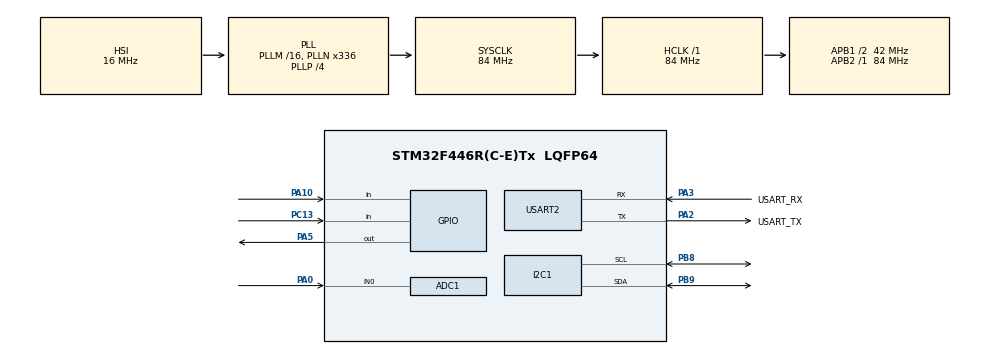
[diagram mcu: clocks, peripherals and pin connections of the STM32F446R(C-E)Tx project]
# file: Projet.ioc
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ADC1.Channel-3\#ChannelRegularConversion=ADC_CHANNEL_0
ADC1.NbrOfConversionFlag=1
ADC1.Rank-3\#ChannelRegularConversion=1
ADC1.SamplingTime-3\#ChannelRegularConversion=ADC_SAMPLETIME_3CYCLES
ADC1.master=1
Mcu.Family=STM32F4
Mcu.Name=STM32F446R(C-E)Tx
Mcu.Package=LQFP64
NVIC.ADC_IRQn=true\:0\:0\:false\:false\:true\:true\:true
NVIC.PriorityGroup=NVIC_PRIORITYGROUP_0
NVIC.TIM2_IRQn=true\:0\:0\:false\:false\:true\:true\:true
NVIC.TIM3_IRQn=true\:0\:0\:false\:false\:true\:true\:true
NVIC.TIM5_IRQn=true\:0\:0\:false\:false\:true\:true\:true
PA0-WKUP.Signal=ADCx_IN0
PA10.Signal=GPIO_Input
PA13.GPIO_Label=TMS
PA13.Mode=Serial_Wire
PA13.Signal=SYS_JTMS-SWDIO
PA14.GPIO_Label=TCK
PA14.Mode=Serial_Wire
PA14.Signal=SYS_JTCK-SWCLK
PA2.GPIO_Label=USART_TX
PA2.Mode=Asynchronous
PA2.Signal=USART2_TX
PA3.GPIO_Label=USART_RX
PA3.Mode=Asynchronous
PA3.Signal=USART2_RX
PA5.Signal=GPIO_Output
PB3.GPIO_Label=SWO
PB3.Signal=SYS_JTDO-SWO
PB8.Mode=I2C
PB8.Signal=I2C1_SCL
PB9.Mode=I2C
PB9.Signal=I2C1_SDA
PC13.Signal=GPIO_Input
PC14-OSC32_IN.Mode=LSE-External-Oscillator
PC14-OSC32_IN.Signal=RCC_OSC32_IN
PC15-OSC32_OUT.Mode=LSE-External-Oscillator
PC15-OSC32_OUT.Signal=RCC_OSC32_OUT
PH0-OSC_IN.Mode=HSE-External-Oscillator
PH0-OSC_IN.Signal=RCC_OSC_IN
PH1-OSC_OUT.Mode=HSE-External-Oscillator
PH1-OSC_OUT.Signal=RCC_OSC_OUT
ProjectManager.HeapSize=0x200
ProjectManager.StackSize=0x400
ProjectManager.TargetToolchain=STM32CubeIDE
RCC.48MHZClocksFreq_Value=84000000
RCC.AHBFreq_Value=84000000
RCC.APB1CLKDivider=RCC_HCLK_DIV2
RCC.APB1Freq_Value=42000000
RCC.APB1TimFreq_Value=84000000
RCC.APB2Freq_Value=84000000
RCC.APB2TimFreq_Value=84000000
RCC.CortexFreq_Value=84000000
RCC.FLatency-AdvancedSettings=FLASH_LATENCY_2
RCC.HCLKFreq_Value=84000000
RCC.HSE_VALUE=8000000
RCC.HSI_VALUE=16000000
RCC.PLLN=336
RCC.PLLP=RCC_PLLP_DIV4
RCC.SYSCLKFreq_VALUE=84000000
RCC.SYSCLKSource=RCC_SYSCLKSOURCE_PLLCLK
RCC.USBFreq_Value=168000000
RCC.VCOOutputFreq_Value=336000000
SH.ADCx_IN0.0=ADC1_IN0,IN0
TIM2.Period=3000000 - 1
TIM2.Prescaler=8400 - 1
TIM2.TIM_MasterOutputTrigger=TIM_TRGO_UPDATE
TIM3.Prescaler=38452 - 1
TIM3.TIM_MasterOutputTrigger=TIM_TRGO_UPDATE
TIM5.Period=600000
TIM5.Prescaler=8400
TIM5.TIM_MasterOutputTrigger=TIM_TRGO_UPDATE
USART2.VirtualMode=VM_ASYNC
VP_TIM2_VS_ClockSourceINT.Mode=Internal
VP_TIM3_VS_ClockSourceINT.Mode=Internal
VP_TIM5_VS_ClockSourceINT.Mode=Internal
board=NUCLEO-F446RE

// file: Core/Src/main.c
/* USER CODE BEGIN Header */
/**
  ******************************************************************************
  * @file           : main.c
  * @brief          : Main program body
  ******************************************************************************
  * @attention
  *
  * <h2><center>&copy; Copyright (c) 2021 STMicroelectronics.
  * All rights reserved.</center></h2>
  *
  * This software component is licensed by ST under BSD 3-Clause license,
  * the "License"; You may not use this file except in compliance with the
  * License. You may obtain a copy of the License at:
  *                        opensource.org/licenses/BSD-3-Clause
  *
  ******************************************************************************
  */
/* USER CODE END Header */
#include "main.h"

ADC_HandleTypeDef hadc1;

I2C_HandleTypeDef hi2c1;

TIM_HandleTypeDef htim2;
TIM_HandleTypeDef htim3;
TIM_HandleTypeDef htim5;

UART_HandleTypeDef huart2;

void SystemClock_Config(void);
static void MX_GPIO_Init(void);
static void MX_USART2_UART_Init(void);
static void MX_I2C1_Init(void);
static void MX_TIM2_Init(void);
static void MX_ADC1_Init(void);
static void MX_TIM3_Init(void);
static void MX_TIM5_Init(void);

/* USER CODE BEGIN 0 */

// DATE: 22/04/2021
/*
 * Afin de pouvoir debugger facilement des informations, on pourra re-définir l’implémentation
d’une fonction printf redirigeant les caractères vers l’UART et non la sortie standard console
en C
 */

#ifdef __GNUC__
/* With GCC/RAISONANCE, small printf (option LD Linker->Libraries->Small
printf
 set to 'Yes') calls __io_putchar() */
#define PUTCHAR_PROTOTYPE int __io_putchar(int ch)
#else
#define PUTCHAR_PROTOTYPE int fputc(int ch, FILE *f)
#endif /* __GNUC__ */

/*
 * Ajouter ensuite le code lié à l’implémentation de cette fonction
 */

PUTCHAR_PROTOTYPE
{
/* Place your implementation of fputc here */
/* e.g. write a character to the USART2 and Loop until the end of transmission */
HAL_UART_Transmit(&huart2, (uint8_t *)&ch, 1, 0xFFFF);
return ch;
}

void getTempI2C(void){
	/*
	   * Modifier votre programme principal pour permettre de lire la température (registre à l’adresse 0x05).
	   * Pour cela, vous privilégierez les fonctions suivantes :
	   * 	HAL_I2C_Master_Transmit() ; //Ecriture de données
	   * 	HAL_I2C_Mem_Read() ; //Lecture de données
	   */

	  // Transmettre, en mode Maître, une quantité de donnée en mode block
	  /*
	   * HAL_I2C_Master_Transmit(I2C_HandleTypeDef *hi2c, uint16_t DevAddress, uint8_t *pData, uint16_t Size, uint32_t Timeout)
	   */

	/*
	 * L'adresse du Capteur de Temperature MCP9808 est '0011,A2,A1,A0' en binaire
	 * On met A2, A1 et A0 à '0'; ce qui donne 0011000
	 *
	 * En Hexadecimal, la valeur 0011000 est égale à 18
	 */
	 uint8_t DevAddress = 0x18<<1;	// Adresse de l'appareil (du capteur de température) avec declage vers la gauche pour le placer en 8 bits
	 uint8_t RegistreAdress = 0x05;	// Adresse du Registre contenant la Température
	 // uint8_t RegistreAdress = 0x07;
	 uint8_t pData[2];				// Ce que je transmet
	pData[0] = RegistreAdress;		// Stockage de l'Adresse du Registre dans la 1ère case de pData

	/*
	 * Pour hi2c1		I2C_HandleTypeDef qui contient les informations de configuration pour le I2C spécifié.
	 * Pour 1			On n'envoit que la première case de pData
	 */
	HAL_StatusTypeDef HALstage;
	// HALstage = HAL_I2C_Master_Transmit(&hi2c1, DevAddress, pData, 1, HAL_MAX_DELAY);

	 // Si la Transmission s'est bien passée
	// if(HALstage==HAL_OK){
		  /* Lecture du registre à l'adresse 0x05
		   *
		   * HAL_StatusTypeDef HAL_I2C_Mem_Read(I2C_HandleTypeDef *hi2c, uint16_t DevAddress, uint16_t MemAddress, uint16_t MemAddSize, uint8_t *pData, uint16_t Size, uint32_t Timeout)
		   *
		   * Pour "I2C_MEMADD_SIZE_8BIT"
		   *	On donne la Taille sur 8 bits de l'I2C
		   * Pour "Size"
		   * 	Dans pData, on récupére 2 éléments;
		   * 		1) MSB
		   * 		2) LSB
		   */

		/*
			 * L'adresse du Capteur de Temperature MCP9808 est '0011,A2,A1,A0' en binaire
			 * On met A2, A1 et A0 à '0'; ce qui donne 0011000
			 *
			 * En Hexadecimal, la valeur 0011000 est égale à 18
		*/

		/*
			uint8_t DevAddress = 0x18<<1;	// Adresse de l'appareil (du capteur de température) avec declage vers la gauche pour le placer en 8 bits
			uint8_t RegistreAdress = 0x05;	// Adresse du Registre contenant la Température
			// uint8_t RegistreAdress = 0x07;
			uint8_t pData[2];				// Tableau qui contiendra les données récupérées
			pData[0] = RegistreAdress;		// Stockage de l'Adresse du Registre dans la 1ère case de pData
		*/

		/*
			* Pour hi2c1		I2C_HandleTypeDef qui contient les informations de configuration pour le I2C spécifié.
			* Pour 2			On cherche à récupérer 2 élément (dans les 2 cases de pData)
		*/
		 HALstage=HAL_I2C_Mem_Read(&hi2c1, DevAddress, RegistreAdress, I2C_MEMADD_SIZE_8BIT, pData, 2, HAL_MAX_DELAY);

		 // Si la Reception s'est bien passée
		 if(HALstage==HAL_OK){
			/*
			* A la fin de HAL_I2C_Mem_Read
			* Dans	pData[0], on aura MSB
			*		pData[1], on aura LSB
			*/

			/*
			printf("\npData[0]=%02x\n",pData[0]);
			printf("pData[1]=%02x\n",pData[1]);
			*/

			// Convertir pData[0] (MSB) qui est en Hexadecimal vers la version binaire (puis decimale)

			// Combiner les Bits
			int16_t tmp = ((int16_t)pData[0] << 4) | (pData[1] >> 4);

			// Convert to 2's complement, since temperature can be negative
			if(tmp < 0x7FF){
				tmp |= 0xF000;
			}

			// Convert to float temperature value (CELSIUS)
			int16_t temp_val = tmp * 0.0625;

			// Convert temperature to decimal format
			temp_val *= 100;

			// store to databuffer
			sprintf((char*)pData,
				"%u.%u C\r\n",
				((unsigned int)temp_val / 1000),
				((unsigned int)fmod(temp_val,100))
			);

			printf("Temperature : %s\n",pData);
			// }
		}
		else{
			printf("ERREUR RECEPTION\n");
		}
	 /*
	}
	else{
		printf("ERREUR TRANSMISSION\n");
	}
	*/
 }

void getLightValue(void){
	// Lancement du hadc
	HAL_ADC_Start(&hadc1);

	// printf("ADC lancé\n");

	// HAL_Delay(1);

	// Traitement de la Valeur dans hadc1
	uint32_t adcValue = HAL_ADC_GetValue(&hadc1);
	printf("HADC1: %d\n", adcValue);

	// Hal_Delay(1);

	// Si la valeur est en dessous de 4000, on considère que "la lumière est ALLUMEE"
	if(adcValue<4000){
		printf("Lumière ALLUMEE\n");
		// La LED LD2 s'allume
		HAL_GPIO_WritePin(GPIOA, GPIO_PIN_5, 1);
	}
	// Sinon, on considère que la "lumière est ETEINTE"
	else{
		printf("Lumière ETEINTE\n");
		// LD2 s'éteint
		HAL_GPIO_WritePin(GPIOA, GPIO_PIN_5, 0);
	}

	// Arret du hadc
	// HAL_ADC_Stop(&hadc1);
}

void getInfraValue(void){
	// Si on appuie sur le boutton poussoir
	// printf("RECHERCHE D'OBSTACLE\n");

	/*
	if(!HAL_GPIO_ReadPin(GPIOC, GPIO_PIN_13)){
		  printf("ARRET DES ALERTES\n");
		  // On arrête les alertes (la Led LD2 reste éteinte)
		  HAL_GPIO_WritePin(GPIOA, GPIO_PIN_5, GPIO_PIN_RESET);
	  }
	  else{
	  */
	    // Si un signal est recu sur le PA10
		  if(!HAL_GPIO_ReadPin(GPIOA, GPIO_PIN_10)){
			  printf("OBSTACLE\n");
			  // On allume la led LD2
			  // HAL_Delay(1);
			  HAL_GPIO_WritePin(GPIOA, GPIO_PIN_5, GPIO_PIN_SET);
		  }
		  else{
			  printf("PAS D'OBSTACLE\n");
			  // HAL_Delay(1);
			  // On eteind la led LD2
			  HAL_GPIO_WritePin(GPIOA, GPIO_PIN_5, GPIO_PIN_RESET);
			  // HAL_Delay(1);

			  // On allume la led LD1 (PC7)
			  HAL_GPIO_WritePin(GPIOC, GPIO_PIN_7, 1);
			  // HAL_Delay(1);

			  // On eteint la led LD0 (PA9)
			  HAL_GPIO_WritePin(GPIOA, GPIO_PIN_9, 0);
		  }
	  // }
}

/* USER CODE END 0 */

int main(void)
{

  /* MCU Configuration--------------------------------------------------------*/

  /* Reset of all peripherals, Initializes the Flash interface and the Systick. */
  HAL_Init();

  /* Configure the system clock */
  SystemClock_Config();

  /* Initialize all configured peripherals */
  MX_GPIO_Init();
  MX_USART2_UART_Init();
  MX_I2C1_Init();
  MX_TIM2_Init();
  MX_ADC1_Init();
  MX_TIM3_Init();
  MX_TIM5_Init();
  /* USER CODE BEGIN 2 */
  // DATE: 22/04/2021

  // Modifier le fichier main.c afin d’y tester la fonction printf().
  int n=25;
  /*
  printf("BONJOUR");
  printf("%d\n",n);
  */

  // getTempI2C();

 // Initialisation du hadc
 HAL_ADC_Init(&hadc1);

 // Lancement du hadc pour que le Capteur de Luminosité ait le temps de la detecter
 HAL_ADC_Start(&hadc1);

 // Pour Lancer le Timer2 en mode Interruption
 HAL_TIM_Base_Start_IT(&htim2);

 // Pour Lancer le Timer5 en mode Interruption
 HAL_TIM_Base_Start_IT(&htim5);

 // getLightValue();

 // HAL_ADC_Start_IT(&hadc1);

 // printf("HTIM5\n");
//  HAL_TIM_PeriodElapsedCallback(&htim5);

  /* USER CODE END 2 */

  /* Infinite loop */
  while (1)
  {

    /* USER CODE BEGIN 3 */
	/*
  	getLightValue();
  	getInfraValue();
  	*/

	  // Si on appuie sur le bouton poussoir
	   if(!HAL_GPIO_ReadPin(GPIOC, GPIO_PIN_13)){
		   // Si les alertes sont activées (si la led LD2 est allumée)
		   if(HAL_GPIO_ReadPin(GPIOA, GPIO_PIN_5)){
			  printf("ARRET DES ALERTES\n");
			  // On arrête les alertes (la Led LD2 s'éteind)
			  HAL_GPIO_WritePin(GPIOA, GPIO_PIN_5, GPIO_PIN_RESET);
		   }
		   /*
		   else if(!HAL_GPIO_ReadPin(GPIOA, GPIO_PIN_5)){
			   // On revérifie la présence d'obstacle
			   getInfraValue();
		   }
		   */
	   }
  }
  /* USER CODE END 3 */
}

void SystemClock_Config(void)
{
  RCC_OscInitTypeDef RCC_OscInitStruct = {0};
  RCC_ClkInitTypeDef RCC_ClkInitStruct = {0};

  /** Configure the main internal regulator output voltage
  */
  __HAL_RCC_PWR_CLK_ENABLE();
  __HAL_PWR_VOLTAGESCALING_CONFIG(PWR_REGULATOR_VOLTAGE_SCALE3);
  /** Initializes the RCC Oscillators according to the specified parameters
  * in the RCC_OscInitTypeDef structure.
  */
  RCC_OscInitStruct.OscillatorType = RCC_OSCILLATORTYPE_HSI;
  RCC_OscInitStruct.HSIState = RCC_HSI_ON;
  RCC_OscInitStruct.HSICalibrationValue = RCC_HSICALIBRATION_DEFAULT;
  RCC_OscInitStruct.PLL.PLLState = RCC_PLL_ON;
  RCC_OscInitStruct.PLL.PLLSource = RCC_PLLSOURCE_HSI;
  RCC_OscInitStruct.PLL.PLLM = 16;
  RCC_OscInitStruct.PLL.PLLN = 336;
  RCC_OscInitStruct.PLL.PLLP = RCC_PLLP_DIV4;
  RCC_OscInitStruct.PLL.PLLQ = 2;
  RCC_OscInitStruct.PLL.PLLR = 2;
  if (HAL_RCC_OscConfig(&RCC_OscInitStruct) != HAL_OK)
  {
    Error_Handler();
  }
  /** Initializes the CPU, AHB and APB buses clocks
  */
  RCC_ClkInitStruct.ClockType = RCC_CLOCKTYPE_HCLK|RCC_CLOCKTYPE_SYSCLK
                              |RCC_CLOCKTYPE_PCLK1|RCC_CLOCKTYPE_PCLK2;
  RCC_ClkInitStruct.SYSCLKSource = RCC_SYSCLKSOURCE_PLLCLK;
  RCC_ClkInitStruct.AHBCLKDivider = RCC_SYSCLK_DIV1;
  RCC_ClkInitStruct.APB1CLKDivider = RCC_HCLK_DIV2;
  RCC_ClkInitStruct.APB2CLKDivider = RCC_HCLK_DIV1;

  if (HAL_RCC_ClockConfig(&RCC_ClkInitStruct, FLASH_LATENCY_2) != HAL_OK)
  {
    Error_Handler();
  }
}

static void MX_ADC1_Init(void)
{

  ADC_ChannelConfTypeDef sConfig = {0};

  /** Configure the global features of the ADC (Clock, Resolution, Data Alignment and number of conversion)
  */
  hadc1.Instance = ADC1;
  hadc1.Init.ClockPrescaler = ADC_CLOCK_SYNC_PCLK_DIV4;
  hadc1.Init.Resolution = ADC_RESOLUTION_12B;
  hadc1.Init.ScanConvMode = DISABLE;
  hadc1.Init.ContinuousConvMode = DISABLE;
  hadc1.Init.DiscontinuousConvMode = DISABLE;
  hadc1.Init.ExternalTrigConvEdge = ADC_EXTERNALTRIGCONVEDGE_NONE;
  hadc1.Init.ExternalTrigConv = ADC_SOFTWARE_START;
  hadc1.Init.DataAlign = ADC_DATAALIGN_RIGHT;
  hadc1.Init.NbrOfConversion = 1;
  hadc1.Init.DMAContinuousRequests = DISABLE;
  hadc1.Init.EOCSelection = ADC_EOC_SINGLE_CONV;
  if (HAL_ADC_Init(&hadc1) != HAL_OK)
  {
    Error_Handler();
  }
  /** Configure for the selected ADC regular channel its corresponding rank in the sequencer and its sample time.
  */
  sConfig.Channel = ADC_CHANNEL_0;
  sConfig.Rank = 1;
  sConfig.SamplingTime = ADC_SAMPLETIME_3CYCLES;
  if (HAL_ADC_ConfigChannel(&hadc1, &sConfig) != HAL_OK)
  {
    Error_Handler();
  }

}

static void MX_I2C1_Init(void)
{

  hi2c1.Instance = I2C1;
  hi2c1.Init.ClockSpeed = 100000;
  hi2c1.Init.DutyCycle = I2C_DUTYCYCLE_2;
  hi2c1.Init.OwnAddress1 = 0;
  hi2c1.Init.AddressingMode = I2C_ADDRESSINGMODE_7BIT;
  hi2c1.Init.DualAddressMode = I2C_DUALADDRESS_DISABLE;
  hi2c1.Init.OwnAddress2 = 0;
  hi2c1.Init.GeneralCallMode = I2C_GENERALCALL_DISABLE;
  hi2c1.Init.NoStretchMode = I2C_NOSTRETCH_DISABLE;
  if (HAL_I2C_Init(&hi2c1) != HAL_OK)
  {
    Error_Handler();
  }

}

static void MX_TIM2_Init(void)
{

  TIM_ClockConfigTypeDef sClockSourceConfig = {0};
  TIM_MasterConfigTypeDef sMasterConfig = {0};

  htim2.Instance = TIM2;
  htim2.Init.Prescaler = 8400 - 1;
  htim2.Init.CounterMode = TIM_COUNTERMODE_UP;
  htim2.Init.Period = 3000000 - 1;
  htim2.Init.ClockDivision = TIM_CLOCKDIVISION_DIV1;
  htim2.Init.AutoReloadPreload = TIM_AUTORELOAD_PRELOAD_DISABLE;
  if (HAL_TIM_Base_Init(&htim2) != HAL_OK)
  {
    Error_Handler();
  }
  sClockSourceConfig.ClockSource = TIM_CLOCKSOURCE_INTERNAL;
  if (HAL_TIM_ConfigClockSource(&htim2, &sClockSourceConfig) != HAL_OK)
  {
    Error_Handler();
  }
  sMasterConfig.MasterOutputTrigger = TIM_TRGO_UPDATE;
  sMasterConfig.MasterSlaveMode = TIM_MASTERSLAVEMODE_DISABLE;
  if (HAL_TIMEx_MasterConfigSynchronization(&htim2, &sMasterConfig) != HAL_OK)
  {
    Error_Handler();
  }

}

static void MX_TIM3_Init(void)
{

  TIM_ClockConfigTypeDef sClockSourceConfig = {0};
  TIM_MasterConfigTypeDef sMasterConfig = {0};

  htim3.Instance = TIM3;
  htim3.Init.Prescaler = 38452 - 1;
  htim3.Init.CounterMode = TIM_COUNTERMODE_UP;
  htim3.Init.Period = 65535;
  htim3.Init.ClockDivision = TIM_CLOCKDIVISION_DIV1;
  htim3.Init.AutoReloadPreload = TIM_AUTORELOAD_PRELOAD_DISABLE;
  if (HAL_TIM_Base_Init(&htim3) != HAL_OK)
  {
    Error_Handler();
  }
  sClockSourceConfig.ClockSource = TIM_CLOCKSOURCE_INTERNAL;
  if (HAL_TIM_ConfigClockSource(&htim3, &sClockSourceConfig) != HAL_OK)
  {
    Error_Handler();
  }
  sMasterConfig.MasterOutputTrigger = TIM_TRGO_UPDATE;
  sMasterConfig.MasterSlaveMode = TIM_MASTERSLAVEMODE_DISABLE;
  if (HAL_TIMEx_MasterConfigSynchronization(&htim3, &sMasterConfig) != HAL_OK)
  {
    Error_Handler();
  }

}

static void MX_TIM5_Init(void)
{

  TIM_ClockConfigTypeDef sClockSourceConfig = {0};
  TIM_MasterConfigTypeDef sMasterConfig = {0};

  htim5.Instance = TIM5;
  htim5.Init.Prescaler = 8400;
  htim5.Init.CounterMode = TIM_COUNTERMODE_UP;
  htim5.Init.Period = 600000;
  htim5.Init.ClockDivision = TIM_CLOCKDIVISION_DIV1;
  htim5.Init.AutoReloadPreload = TIM_AUTORELOAD_PRELOAD_DISABLE;
  if (HAL_TIM_Base_Init(&htim5) != HAL_OK)
  {
    Error_Handler();
  }
  sClockSourceConfig.ClockSource = TIM_CLOCKSOURCE_INTERNAL;
  if (HAL_TIM_ConfigClockSource(&htim5, &sClockSourceConfig) != HAL_OK)
  {
    Error_Handler();
  }
  sMasterConfig.MasterOutputTrigger = TIM_TRGO_UPDATE;
  sMasterConfig.MasterSlaveMode = TIM_MASTERSLAVEMODE_DISABLE;
  if (HAL_TIMEx_MasterConfigSynchronization(&htim5, &sMasterConfig) != HAL_OK)
  {
    Error_Handler();
  }

}

static void MX_USART2_UART_Init(void)
{

  huart2.Instance = USART2;
  huart2.Init.BaudRate = 115200;
  huart2.Init.WordLength = UART_WORDLENGTH_8B;
  huart2.Init.StopBits = UART_STOPBITS_1;
  huart2.Init.Parity = UART_PARITY_NONE;
  huart2.Init.Mode = UART_MODE_TX_RX;
  huart2.Init.HwFlowCtl = UART_HWCONTROL_NONE;
  huart2.Init.OverSampling = UART_OVERSAMPLING_16;
  if (HAL_UART_Init(&huart2) != HAL_OK)
  {
    Error_Handler();
  }

}

static void MX_GPIO_Init(void)
{
  GPIO_InitTypeDef GPIO_InitStruct = {0};

  /* GPIO Ports Clock Enable */
  __HAL_RCC_GPIOC_CLK_ENABLE();
  __HAL_RCC_GPIOH_CLK_ENABLE();
  __HAL_RCC_GPIOA_CLK_ENABLE();
  __HAL_RCC_GPIOB_CLK_ENABLE();

  /*Configure GPIO pin Output Level */
  HAL_GPIO_WritePin(GPIOA, GPIO_PIN_5, GPIO_PIN_RESET);

  /*Configure GPIO pin : PC13 */
  GPIO_InitStruct.Pin = GPIO_PIN_13;
  GPIO_InitStruct.Mode = GPIO_MODE_INPUT;
  GPIO_InitStruct.Pull = GPIO_NOPULL;
  HAL_GPIO_Init(GPIOC, &GPIO_InitStruct);

  /*Configure GPIO pin : PA5 */
  GPIO_InitStruct.Pin = GPIO_PIN_5;
  GPIO_InitStruct.Mode = GPIO_MODE_OUTPUT_PP;
  GPIO_InitStruct.Pull = GPIO_NOPULL;
  GPIO_InitStruct.Speed = GPIO_SPEED_FREQ_LOW;
  HAL_GPIO_Init(GPIOA, &GPIO_InitStruct);

  /*Configure GPIO pin : PA10 */
  GPIO_InitStruct.Pin = GPIO_PIN_10;
  GPIO_InitStruct.Mode = GPIO_MODE_INPUT;
  GPIO_InitStruct.Pull = GPIO_NOPULL;
  HAL_GPIO_Init(GPIOA, &GPIO_InitStruct);

}

/* USER CODE BEGIN 4 */

// get timer callback code to toggle pin /
void HAL_TIM_PeriodElapsedCallback(TIM_HandleTypeDef *htim){
    /** Check which version of the timer triggered this callback and toggle LED ***/
    if(htim == &htim2){
    	printf("\n\n");
    	getTempI2C();
    	getLightValue();

    	// Lancement de hadc1 en mode interruption
        HAL_ADC_Start_IT(&hadc1);
    }
    else if(htim == &htim5){
		// printf("RELOAD TIMER5\n");
		printf("\n");
       	getInfraValue();
    }
}

/* USER CODE END 4 */

void Error_Handler(void)
{
}

/************************ (C) COPYRIGHT STMicroelectronics *****END OF FILE****/
